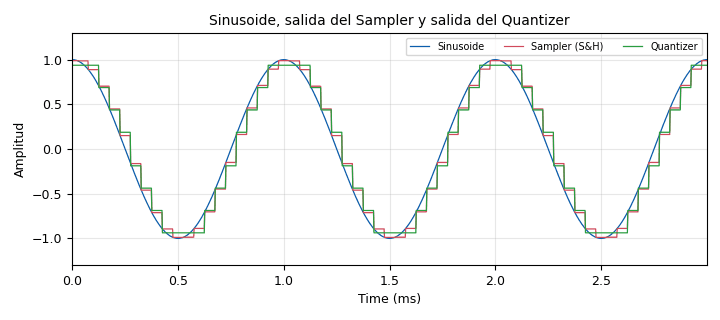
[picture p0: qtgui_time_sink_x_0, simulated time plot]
options:
  parameters:
    author: CIT2111 - Comunicaciones Digitales
    description: Laboratorio 1 - Actividad en el laboratorio III-B
    generate_options: qt_gui
    id: lab1_sesion
    output_language: python
    title: 'Lab 1 - Sesion: Sampler, Quantizer, potencia y SNR'
  states: {}

blocks:
- name: samp_rate
  id: variable
  parameters:
    comment: Frecuencia de muestreo de GNURadio [Hz]
    value: 500e3
  states: {}
- name: f_sin
  id: variable
  parameters:
    comment: Frecuencia senal sinusoidal [Hz]
    value: 1e3
  states: {}
- name: f_cuadrada
  id: variable
  parameters:
    comment: Frecuencia senal cuadrada [Hz]
    value: 20e3
  states: {}
- name: A
  id: variable
  parameters:
    comment: Amplitud senal sinusoidal
    value: '1'
  states: {}
- name: M_p
  id: variable
  parameters:
    comment: Valor maximo de entrada del cuantizador
    value: '1'
  states: {}
- name: N_prom
  id: variable
  parameters:
    comment: Muestras en 1 periodo de la sinusoide (largo del promedio)
    value: int(samp_rate/f_sin)
  states: {}
- name: N_bits
  id: variable_qtgui_range
  parameters:
    comment: 'Numero de bits: mover entre 2 y 10 para la pregunta 3'
    label: N bits
    rangeType: int
    start: '2'
    step: '1'
    stop: '10'
    value: '4'
  states: {}
- name: analog_sig_source_x_0
  id: analog_sig_source_x
  parameters:
    amp: A
    comment: Senal sinusoidal de 1 kHz
    freq: f_sin
    offset: '0'
    phase: '0'
    samp_rate: samp_rate
    type: float
    waveform: analog.GR_COS_WAVE
  states: {}
- name: analog_sig_source_x_1
  id: analog_sig_source_x
  parameters:
    amp: '1'
    comment: Senal cuadrada de 20 kHz (0 / 1)
    freq: f_cuadrada
    offset: '0'
    phase: '0'
    samp_rate: samp_rate
    type: float
    waveform: analog.GR_SQR_WAVE
  states: {}
- name: blocks_throttle_0
  id: blocks_throttle
  parameters:
    comment: Limita la velocidad de simulacion
    samples_per_second: samp_rate
    type: float
  states: {}
- name: sampler
  id: epy_block
  parameters:
    comment: SAMPLER (S&H sin retorno a cero)
    _source_code: |
      import numpy as np
      from gnuradio import gr


      class blk(gr.sync_block):
          """
          Sampler: sample & hold SIN retorno a cero (figura 2.b de la guia).

          Entrada 0 : senal sinusoidal.
          Entrada 1 : senal cuadrada de control (niveles 0 / 1).
          Salida  0 : senal PAM plana. En cada flanco de subida de la cuadrada se
                      toma una muestra y se mantiene durante TODO el periodo Ts,
                      hasta el siguiente flanco (ya no vuelve a cero).
          """

          def __init__(self):
              gr.sync_block.__init__(
                  self,
                  name='Sampler',
                  in_sig=[np.float32, np.float32],
                  out_sig=[np.float32]
              )
              self.umbral = 0.5           # decide si el pulso esta en alto
              self.ctrl_prev = False      # estado del pulso en la muestra anterior
              self.valor_retenido = 0.0   # ultima muestra tomada

          def work(self, input_items, output_items):
              in_data = input_items[0]
              in_ctrl = input_items[1]
              out = output_items[0]
              n = len(out)

              # 1) Pulso en alto / bajo
              activo = in_ctrl[:n] > self.umbral

              # 2) Flancos de subida
              anterior = np.concatenate(([self.ctrl_prev], activo[:-1]))
              flancos = activo & ~anterior

              # 3) Indice del ultimo flanco ocurrido para cada muestra
              idx = np.maximum.accumulate(np.where(flancos, np.arange(n), -1))

              # 4) Valor retenido (si aun no hay flanco en este bloque de datos,
              #    se usa el que venia de la llamada anterior)
              valores = np.where(idx >= 0,
                                 in_data[np.maximum(idx, 0)],
                                 self.valor_retenido)

              # 5) Sin retorno a cero: la muestra se mantiene todo el periodo
              out[:] = valores

              # 6) Guardar estado para la siguiente llamada
              self.valor_retenido = float(valores[-1])
              self.ctrl_prev = bool(activo[-1])
              return len(out)
  states: {}
- name: quantizer
  id: epy_block
  parameters:
    comment: QUANTIZER
    _source_code: |
      import numpy as np
      from gnuradio import gr


      class blk(gr.sync_block):
          """
          Quantizer: cuantizador uniforme (mid-rise) de N_bits sobre [-M_p, +M_p].

          N_bits : numero de bits del cuantizador  ->  L = 2**N_bits niveles
          M_p    : valor maximo de entrada (fondo de escala)

          Paso de cuantizacion:  delta = 2*M_p / L
          Cada muestra se reemplaza por el centro del escalon que le corresponde.
          """

          def __init__(self, N_bits=4, M_p=1.0):
              gr.sync_block.__init__(
                  self,
                  name='Quantizer',
                  in_sig=[np.float32],
                  out_sig=[np.float32]
              )
              self.N_bits = N_bits
              self.M_p = M_p

          def work(self, input_items, output_items):
              x = input_items[0]
              out = output_items[0]

              # Se recalcula en cada llamada para que el slider de N_bits
              # cambie el cuantizador en vivo
              N = int(round(self.N_bits))
              Mp = float(self.M_p)
              L = 2 ** N                      # numero de niveles
              delta = 2.0 * Mp / L            # paso de cuantizacion

              # 1) Limitar al fondo de escala (evita sobrecarga)
              xc = np.clip(x, -Mp, Mp)

              # 2) Indice del escalon: de -L/2 a L/2-1
              k = np.floor(xc / delta)
              k = np.clip(k, -L / 2, L / 2 - 1)

              # 3) Valor cuantizado = centro del escalon
              out[:] = (k + 0.5) * delta
              return len(out)
    N_bits: N_bits
    M_p: M_p
  states: {}
- name: error_cuantizacion
  id: blocks_sub_xx
  parameters:
    comment: e[n] = x_q[n] - x_s[n]
    type: float
  states: {}
- name: pot_senal_cuadrado
  id: blocks_multiply_xx
  parameters:
    comment: x[n]^2 de la sinusoide
    type: float
  states: {}
- name: pot_senal_promedio
  id: blocks_moving_average_xx
  parameters:
    comment: 'E[x^2]: promedio de 1 periodo de la sinusoide'
    length: N_prom
    max_iter: '4000'
    scale: 1.0/N_prom
    type: float
  states: {}
- name: pot_ruido_cuadrado
  id: blocks_multiply_xx
  parameters:
    comment: e[n]^2 del error
    type: float
  states: {}
- name: pot_ruido_promedio
  id: blocks_moving_average_xx
  parameters:
    comment: 'E[x^2]: promedio de 1 periodo de la sinusoide'
    length: N_prom
    max_iter: '4000'
    scale: 1.0/N_prom
    type: float
  states: {}
- name: snr_division
  id: blocks_divide_xx
  parameters:
    comment: Ps / Pe
    type: float
  states: {}
- name: snr_db
  id: blocks_nlog10_ff
  parameters:
    comment: 10*log10(Ps/Pe) = SNR [dB]
    k: '0'
    n: '10'
  states: {}
- name: ns_pot_senal
  id: qtgui_number_sink
  parameters:
    graph_type: qtgui.NUM_GRAPH_HORIZ
    label1: Potencia senal Ps
    min: '0'
    name: '"Potencia de la senal sinusoidal"'
    type: float
    unit1: W
    update_time: '0.20'
  states: {}
- name: ns_pot_ruido
  id: qtgui_number_sink
  parameters:
    factor1: 1e6
    graph_type: qtgui.NUM_GRAPH_HORIZ
    label1: Potencia ruido Pe
    max: '25000'
    min: '0'
    name: '"Potencia de ruido de cuantizacion (x 1e6)"'
    type: float
    unit1: uW
    update_time: '0.20'
  states: {}
- name: ns_snr
  id: qtgui_number_sink
  parameters:
    graph_type: qtgui.NUM_GRAPH_HORIZ
    label1: SNR
    max: '70'
    min: '0'
    name: '"Relacion senal a ruido de cuantizacion"'
    type: float
    unit1: dB
    update_time: '0.20'
  states: {}
- name: qtgui_time_sink_x_0
  id: qtgui_time_sink_x
  parameters:
    grid: 'True'
    name: '"Sinusoide, salida del Sampler y salida del Quantizer"'
    nconnections: '3'
    size: '1500'
    srate: samp_rate
    type: float
    label1: Sinusoide
    label2: Sampler (S&H)
    label3: Quantizer
    ylabel: Amplitud
    ymax: '1.3'
    ymin: '-1.3'
  states: {}

connections:
- [analog_sig_source_x_0, '0', sampler, '0']
- [analog_sig_source_x_1, '0', blocks_throttle_0, '0']
- [blocks_throttle_0, '0', sampler, '1']
- [sampler, '0', quantizer, '0']
- [analog_sig_source_x_0, '0', pot_senal_cuadrado, '0']
- [analog_sig_source_x_0, '0', pot_senal_cuadrado, '1']
- [pot_senal_cuadrado, '0', pot_senal_promedio, '0']
- [pot_senal_promedio, '0', ns_pot_senal, '0']
- [quantizer, '0', error_cuantizacion, '0']
- [sampler, '0', error_cuantizacion, '1']
- [error_cuantizacion, '0', pot_ruido_cuadrado, '0']
- [error_cuantizacion, '0', pot_ruido_cuadrado, '1']
- [pot_ruido_cuadrado, '0', pot_ruido_promedio, '0']
- [pot_ruido_promedio, '0', ns_pot_ruido, '0']
- [pot_senal_promedio, '0', snr_division, '0']
- [pot_ruido_promedio, '0', snr_division, '1']
- [snr_division, '0', snr_db, '0']
- [snr_db, '0', ns_snr, '0']
- [analog_sig_source_x_0, '0', qtgui_time_sink_x_0, '0']
- [sampler, '0', qtgui_time_sink_x_0, '1']
- [quantizer, '0', qtgui_time_sink_x_0, '2']

metadata:
  file_format: 1
  grc_version: 3.10.9.2
